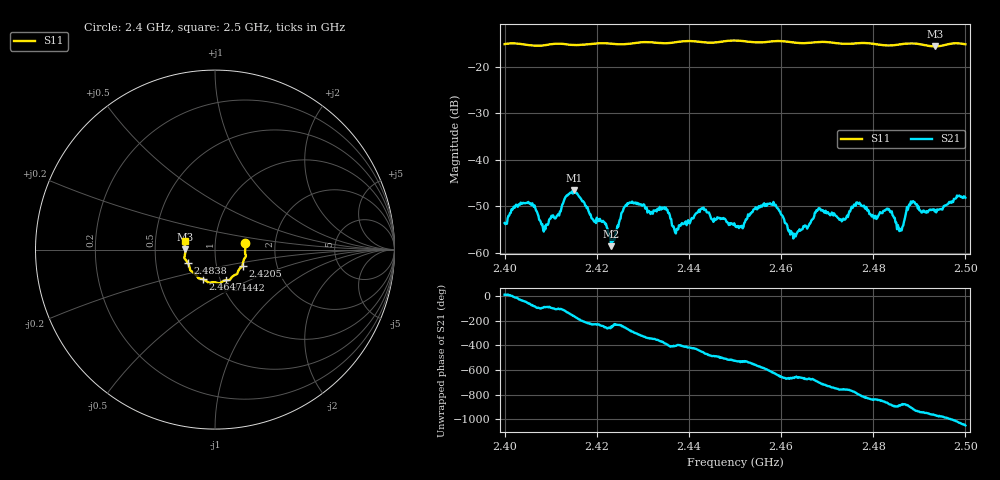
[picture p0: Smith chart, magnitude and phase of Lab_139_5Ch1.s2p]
# Hz S RI R 50
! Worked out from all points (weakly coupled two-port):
!   601 points, 2.4 GHz to 2.5 GHz, reference 50 ohm
!   highest |S21| = -46.60 dB at 2.415 GHz (marker M1); lowest = -58.6 dB at 2.4232 GHz (marker M2)
!   lowest |S11| = -15.7 dB at 2.4935 GHz (marker M3), VSWR 1.39, Z = 35.9 + j0.102 ohm
!   |S11| at or under -10 dB: start of sweep to end of sweep
!   S12 and S22 are empty: the file has one direction only
!   S11 on the Smith chart (normalised r, x): 2.4 GHz: 1.40, +0.11; 2.4205 GHz: 1.34, -0.25; 2.4442 GHz: 1.06, -0.37; 2.4647 GHz: 0.83, -0.29; 2.4838 GHz: 0.73, -0.11; 2.5 GHz: 0.71, +0.07
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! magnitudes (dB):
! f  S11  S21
! 2.4 GHz  -15.2  -53.6
! 2.405 GHz  -15.4  -49.3
! 2.4088 GHz  -15.4  -54.9
! 2.415 GHz  -15.4  -46.6
! 2.4167 GHz  -15.3  -48.6
! 2.4205 GHz  -15.0  -53.2
! 2.4232 GHz  -15.1  -58.6
! 2.4268 GHz  -15.1  -49.5
! 2.4333 GHz  -14.9  -50.7
! 2.4372 GHz  -14.8  -55.8
! 2.4442 GHz  -14.9  -51.3
! 2.45 GHz  -14.4  -54.1
! 2.4578 GHz  -14.6  -49.6
! 2.4622 GHz  -14.7  -55.3
! 2.4647 GHz  -15.0  -54.9
! 2.4667 GHz  -14.9  -52.9
! 2.4833 GHz  -15.5  -50.5
! 2.4838 GHz  -15.5  -51.3
! 2.4857 GHz  -15.2  -55.3
! 2.4883 GHz  -15.0  -49.3
! 2.4935 GHz  -15.7  -50.8
! 2.5 GHz  -15.2  -48.2
